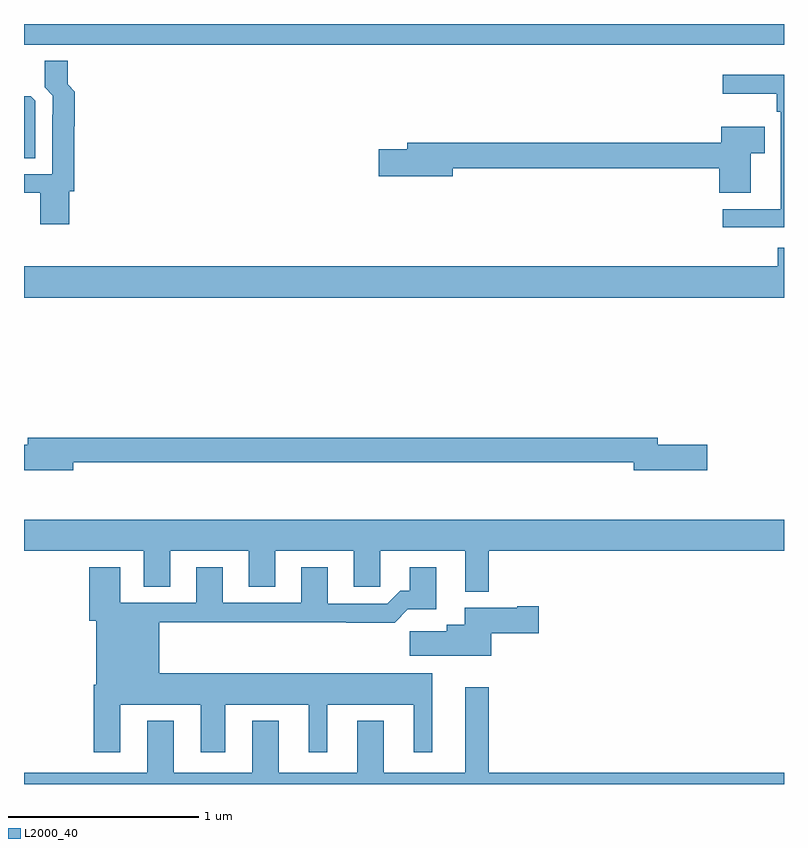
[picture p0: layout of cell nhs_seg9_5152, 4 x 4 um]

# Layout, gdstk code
import gdstk
lib = gdstk.Library(unit=1e-6, precision=1e-09)
def R(c, l, rs):  # rectangles x0, y0, x1, y1
    for r in rs: c.add(gdstk.rectangle(r[:2], r[2:], *l))
def P(c, l, *ps):  # polygons
    for p in ps: c.add(gdstk.Polygon(p, *l))
L2000_40 = (2000, 40)

nhs_seg9_5152 = lib.new_cell('nhs_seg9_5152')
R(nhs_seg9_5152, L2000_40, [(409,1224.392,413,1224.5)])
P(nhs_seg9_5152, L2000_40, [(409.238,1223.619),(409.265,1223.619),(409.265,1223.962),(409.268,1223.962),(409.268,1224.144),(409.229,1224.183),(409.229,1224.307),(409.109,1224.307),(409.109,1224.166),(409.152,1224.123),(409.152,1224.023),(409.149,1224.023),(409.149,1223.709),(409,1223.709),(409,1223.612),(409.085,1223.612),(409.085,1223.445),(409.238,1223.445)],
  [(413,1224.232),(412.677,1224.232),(412.677,1224.134),(412.963,1224.134),(412.963,1224.038),(412.983,1224.038),(412.983,1223.723),(412.982,1223.723),(412.982,1223.526),(412.677,1223.526),(412.677,1223.43),(413,1223.43)],
  [(409.059,1224.096),(409.035,1224.12),(409,1224.12),(409,1223.794),(409.059,1223.794)],
  [(412.825,1223.819),(412.898,1223.819),(412.898,1223.959),(412.67,1223.959),(412.67,1223.876),(411.017,1223.876),(411.017,1223.84),(410.868,1223.84),(410.868,1223.698),(411.256,1223.698),(411.256,1223.74),(412.658,1223.74),(412.658,1223.611),(412.825,1223.611)],
  [(413,1223.323),(412.967,1223.323),(412.967,1223.224),(409,1223.224),(409,1223.06),(413,1223.06)],
  [(409.258,1222.194),(412.208,1222.194),(412.208,1222.151),(412.597,1222.151),(412.597,1222.286),(412.336,1222.286),(412.336,1222.322),(409.019,1222.322),(409.019,1222.286),(409,1222.286),(409,1222.151),(409.258,1222.151)],
  [(411.445,1221.728),(413,1221.728),(413,1221.892),(409,1221.892),(409,1221.728),(409.631,1221.728),(409.631,1221.538),(409.771,1221.538),(409.771,1221.728),(410.183,1221.728),(410.183,1221.538),(410.323,1221.538),(410.323,1221.728),(410.735,1221.728),(410.735,1221.538),(410.874,1221.538),(410.874,1221.728),(411.323,1221.728),(411.323,1221.512),(411.445,1221.512)],
  [(409.507,1220.918),(409.931,1220.918),(409.931,1220.667),(410.059,1220.667),(410.059,1220.918),(410.498,1220.918),(410.498,1220.667),(410.596,1220.667),(410.596,1220.918),(411.05,1220.918),(411.05,1220.667),(411.148,1220.667),(411.148,1221.082),(409.711,1221.082),(409.711,1221.352),(410.695,1221.352),(410.695,1221.35),(410.951,1221.35),(411.02,1221.419),(411.169,1221.419),(411.169,1221.64),(411.029,1221.64),(411.029,1221.517),(410.98,1221.517),(410.913,1221.45),(410.599,1221.45),(410.599,1221.64),(410.459,1221.64),(410.459,1221.453),(410.047,1221.453),(410.047,1221.64),(409.907,1221.64),(409.907,1221.453),(409.507,1221.453),(409.507,1221.64),(409.343,1221.64),(409.343,1221.36),(409.379,1221.36),(409.379,1221.022),(409.367,1221.022),(409.367,1220.667),(409.507,1220.667)],
  [(411.46,1221.293),(411.709,1221.293),(411.709,1221.435),(411.596,1221.435),(411.596,1221.427),(411.32,1221.427),(411.32,1221.337),(411.224,1221.337),(411.224,1221.305),(411.03,1221.305),(411.03,1221.176),(411.46,1221.176)],
  [(411.323,1220.56),(410.893,1220.56),(410.893,1220.833),(410.753,1220.833),(410.753,1220.56),(410.341,1220.56),(410.341,1220.833),(410.201,1220.833),(410.201,1220.56),(409.789,1220.56),(409.789,1220.833),(409.649,1220.833),(409.649,1220.56),(409,1220.56),(409,1220.5),(413,1220.5),(413,1220.56),(411.445,1220.56),(411.445,1221.01),(411.323,1221.01)])

lib.write_gds('nhs_seg9_5152.gds')
